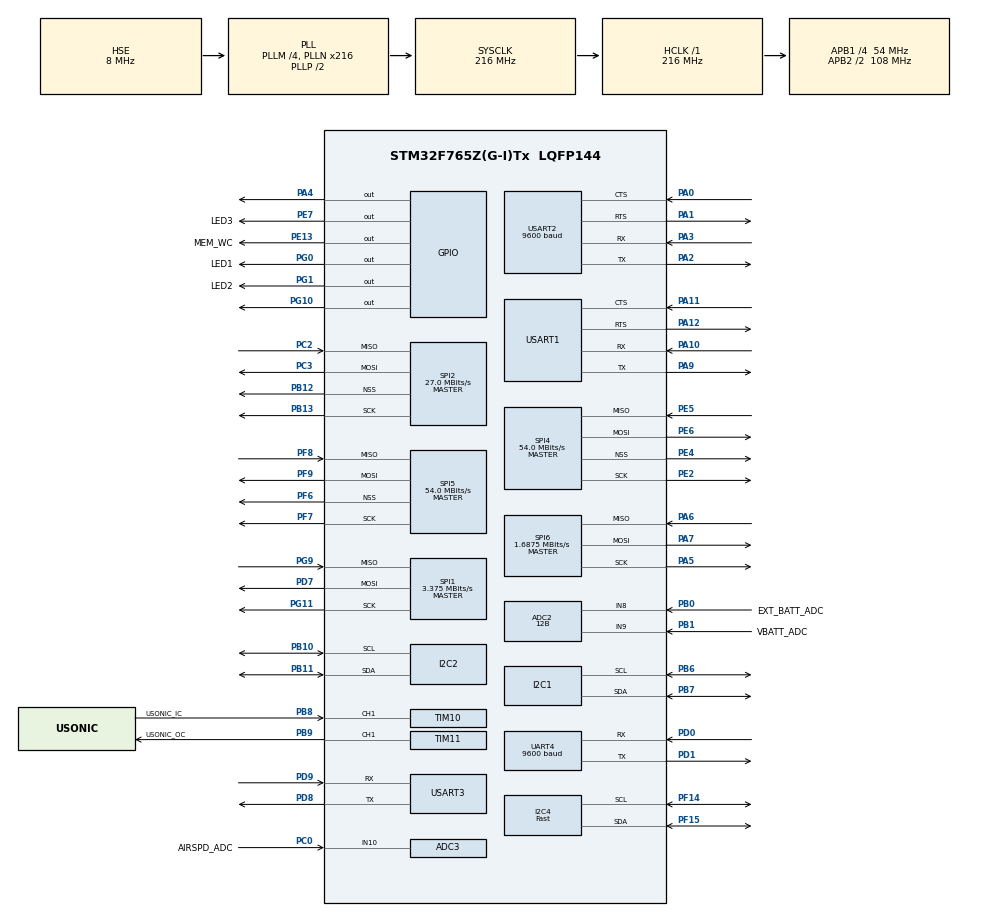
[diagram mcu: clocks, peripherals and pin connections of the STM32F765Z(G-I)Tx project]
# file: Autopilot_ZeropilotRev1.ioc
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ADC2.Channel-5\#ChannelRegularConversion=ADC_CHANNEL_8
ADC2.ClockPrescaler=ADC_CLOCK_SYNC_PCLK_DIV4
ADC2.ContinuousConvMode=DISABLE
ADC2.DMAContinuousRequests=DISABLE
ADC2.DataAlign=ADC_DATAALIGN_RIGHT
ADC2.DiscontinuousConvMode=DISABLE
ADC2.EOCSelection=ADC_EOC_SINGLE_CONV
ADC2.EnableAnalogWatchDog=false
ADC2.ExternalTrigConv=ADC_SOFTWARE_START
ADC2.ExternalTrigConvEdge=ADC_EXTERNALTRIGCONVEDGE_NONE
ADC2.InjNumberOfConversion=0
ADC2.NbrOfConversion=1
ADC2.NbrOfConversionFlag=1
ADC2.Rank-5\#ChannelRegularConversion=1
ADC2.Resolution=ADC_RESOLUTION_12B
ADC2.SamplingTime-5\#ChannelRegularConversion=ADC_SAMPLETIME_3CYCLES
ADC2.ScanConvMode=ADC_SCAN_DISABLE
ADC3.Channel-0\#ChannelRegularConversion=ADC_CHANNEL_10
ADC3.ClockPrescaler=ADC_CLOCK_SYNC_PCLK_DIV4
ADC3.ContinuousConvMode=ENABLE
ADC3.EOCSelection=ADC_EOC_SEQ_CONV
ADC3.NbrOfConversionFlag=1
ADC3.Rank-0\#ChannelRegularConversion=1
ADC3.SamplingTime-0\#ChannelRegularConversion=ADC_SAMPLETIME_3CYCLES
Dma.Request0=UART4_RX
Dma.Request1=UART4_TX
Dma.Request2=USART2_RX
Dma.Request3=USART2_TX
Dma.UART4_RX.0.Direction=DMA_PERIPH_TO_MEMORY
Dma.UART4_RX.0.FIFOMode=DMA_FIFOMODE_DISABLE
Dma.UART4_RX.0.Instance=DMA1_Stream2
Dma.UART4_RX.0.MemDataAlignment=DMA_MDATAALIGN_BYTE
Dma.UART4_RX.0.MemInc=DMA_MINC_ENABLE
Dma.UART4_RX.0.Mode=DMA_NORMAL
Dma.UART4_RX.0.PeriphDataAlignment=DMA_PDATAALIGN_BYTE
Dma.UART4_RX.0.PeriphInc=DMA_PINC_DISABLE
Dma.UART4_RX.0.Priority=DMA_PRIORITY_LOW
Dma.UART4_TX.1.Direction=DMA_MEMORY_TO_PERIPH
Dma.UART4_TX.1.FIFOMode=DMA_FIFOMODE_DISABLE
Dma.UART4_TX.1.Instance=DMA1_Stream4
Dma.UART4_TX.1.MemDataAlignment=DMA_MDATAALIGN_BYTE
Dma.UART4_TX.1.MemInc=DMA_MINC_ENABLE
Dma.UART4_TX.1.Mode=DMA_NORMAL
Dma.UART4_TX.1.PeriphDataAlignment=DMA_PDATAALIGN_BYTE
Dma.UART4_TX.1.PeriphInc=DMA_PINC_DISABLE
Dma.UART4_TX.1.Priority=DMA_PRIORITY_LOW
Dma.USART2_RX.2.Direction=DMA_PERIPH_TO_MEMORY
Dma.USART2_RX.2.FIFOMode=DMA_FIFOMODE_DISABLE
Dma.USART2_RX.2.Instance=DMA1_Stream5
Dma.USART2_RX.2.MemDataAlignment=DMA_MDATAALIGN_BYTE
Dma.USART2_RX.2.MemInc=DMA_MINC_ENABLE
Dma.USART2_RX.2.Mode=DMA_NORMAL
Dma.USART2_RX.2.PeriphDataAlignment=DMA_PDATAALIGN_BYTE
Dma.USART2_RX.2.PeriphInc=DMA_PINC_DISABLE
Dma.USART2_RX.2.Priority=DMA_PRIORITY_LOW
Dma.USART2_TX.3.Direction=DMA_MEMORY_TO_PERIPH
Dma.USART2_TX.3.FIFOMode=DMA_FIFOMODE_DISABLE
Dma.USART2_TX.3.Instance=DMA1_Stream6
Dma.USART2_TX.3.MemDataAlignment=DMA_MDATAALIGN_BYTE
Dma.USART2_TX.3.MemInc=DMA_MINC_ENABLE
Dma.USART2_TX.3.Mode=DMA_NORMAL
Dma.USART2_TX.3.PeriphDataAlignment=DMA_PDATAALIGN_BYTE
Dma.USART2_TX.3.PeriphInc=DMA_PINC_DISABLE
Dma.USART2_TX.3.Priority=DMA_PRIORITY_LOW
FREERTOS.INCLUDE_vTaskDelayUntil=1
FREERTOS.Tasks01=attitudeManager,0,128,attitudeManagerExecute,Default,NULL,Dynamic,NULL,NULL;Interchip,0,128,Interchip_Run,As external,NULL,Dynamic,NULL,NULL;pathManager,-1,128,pathManagerExecute,Default,NULL,Dynamic,NULL,NULL;telemetryRun,-1,128,StartTelemetryRun,Default,NULL,Dynamic,NULL,NULL
I2C1.Timing=0x20404768
I2C2.Timing=0x20404768
I2C4.I2C_Speed_Mode=I2C_Fast
I2C4.Speed=350
I2C4.Timing=0x00501B74
Mcu.Family=STM32F7
Mcu.Name=STM32F765Z(G-I)Tx
Mcu.Package=LQFP144
NVIC.DMA1_Stream2_IRQn=true\:5\:0\:false\:false\:true\:true\:false\:true
NVIC.DMA1_Stream4_IRQn=true\:5\:0\:false\:false\:true\:true\:false\:true
NVIC.DMA1_Stream5_IRQn=true\:5\:0\:false\:false\:true\:true\:false\:true
NVIC.DMA1_Stream6_IRQn=true\:5\:0\:false\:false\:true\:true\:false\:true
NVIC.I2C4_ER_IRQn=true\:5\:0\:false\:false\:true\:true\:true\:true
NVIC.I2C4_EV_IRQn=true\:5\:0\:false\:false\:true\:true\:true\:true
NVIC.PriorityGroup=NVIC_PRIORITYGROUP_4
NVIC.SPI1_IRQn=true\:1\:0\:true\:false\:true\:false\:true\:true
NVIC.SPI6_IRQn=true\:5\:0\:false\:false\:true\:true\:true\:true
NVIC.TIM1_UP_TIM10_IRQn=true\:5\:0\:true\:false\:true\:true\:true\:true
NVIC.TIM4_IRQn=true\:0\:0\:false\:false\:true\:false\:false\:true
NVIC.TimeBase=TIM4_IRQn
NVIC.TimeBaseIP=TIM4
NVIC.UART4_IRQn=true\:5\:0\:false\:false\:true\:true\:true\:true
NVIC.USART1_IRQn=true\:5\:0\:false\:false\:true\:true\:true\:true
NVIC.USART2_IRQn=true\:5\:0\:false\:false\:true\:true\:true\:true
NVIC.USART3_IRQn=true\:5\:0\:false\:false\:true\:true\:true\:true
PA0/WKUP.Mode=CTS_RTS
PA0/WKUP.Signal=USART2_CTS
PA1.Mode=CTS_RTS
PA1.Signal=USART2_RTS
PA10.Mode=Asynchronous
PA10.Signal=USART1_RX
PA11.Mode=CTS_RTS
PA11.Signal=USART1_CTS
PA12.Mode=CTS_RTS
PA12.Signal=USART1_RTS
PA13.Mode=Trace_Asynchronous_SW
PA13.Signal=SYS_JTMS-SWDIO
PA14.Mode=Trace_Asynchronous_SW
PA14.Signal=SYS_JTCK-SWCLK
PA2.Mode=Asynchronous
PA2.Signal=USART2_TX
PA3.Mode=Asynchronous
PA3.Signal=USART2_RX
PA4.Signal=GPIO_Output
PA5.Mode=Full_Duplex_Master
PA5.Signal=SPI6_SCK
PA6.Mode=Full_Duplex_Master
PA6.Signal=SPI6_MISO
PA7.Mode=Full_Duplex_Master
PA7.Signal=SPI6_MOSI
PA9.Mode=Asynchronous
PA9.Signal=USART1_TX
PB0.GPIO_Label=EXT_BATT_ADC
PB0.Signal=ADCx_IN8
PB1.GPIO_Label=VBATT_ADC
PB1.Signal=ADCx_IN9
PB10.Mode=I2C
PB10.Signal=I2C2_SCL
PB11.Mode=I2C
PB11.Signal=I2C2_SDA
PB12.Mode=NSS_Signal_Hard_Output
PB12.Signal=SPI2_NSS
PB13.Mode=Full_Duplex_Master
PB13.Signal=SPI2_SCK
PB14.Signal=UART4_RTS
PB15.Signal=UART4_CTS
PB3.Mode=Trace_Asynchronous_SW
PB3.Signal=SYS_JTDO-SWO
PB6.Mode=I2C
PB6.Signal=I2C1_SCL
PB7.Mode=I2C
PB7.Signal=I2C1_SDA
PB8.GPIO_Label=USONIC_IC
PB8.Signal=S_TIM10_CH1
PB9.GPIO_Label=USONIC_OC
PB9.Signal=S_TIM11_CH1
PC0.GPIO_Label=AIRSPD_ADC
PC0.Signal=ADCx_IN10
PC14/OSC32_IN.Mode=LSE-External-Oscillator
PC14/OSC32_IN.Signal=RCC_OSC32_IN
PC15/OSC32_OUT.Mode=LSE-External-Oscillator
PC15/OSC32_OUT.Signal=RCC_OSC32_OUT
PC2.Mode=Full_Duplex_Master
PC2.Signal=SPI2_MISO
PC3.Mode=Full_Duplex_Master
PC3.Signal=SPI2_MOSI
PD0.Mode=Asynchronous
PD0.Signal=UART4_RX
PD1.Mode=Asynchronous
PD1.Signal=UART4_TX
PD7.Mode=Full_Duplex_Master
PD7.Signal=SPI1_MOSI
PD8.Mode=Asynchronous
PD8.Signal=USART3_TX
PD9.Mode=Asynchronous
PD9.Signal=USART3_RX
PE13.GPIO_Label=MEM_WC
PE13.GPIO_ModeDefaultOutputPP=GPIO_MODE_OUTPUT_PP
PE13.PinState=GPIO_PIN_RESET
PE13.Signal=GPIO_Output
PE2.Mode=Full_Duplex_Master
PE2.Signal=SPI4_SCK
PE4.Mode=NSS_Signal_Hard_Output
PE4.Signal=SPI4_NSS
PE5.Mode=Full_Duplex_Master
PE5.Signal=SPI4_MISO
PE6.Mode=Full_Duplex_Master
PE6.Signal=SPI4_MOSI
PE7.GPIO_Label=LED3
PE7.GPIO_ModeDefaultOutputPP=GPIO_MODE_OUTPUT_PP
PE7.PinState=GPIO_PIN_RESET
PE7.Signal=GPIO_Output
PF14.Mode=I2C
PF14.Signal=I2C4_SCL
PF15.Mode=I2C
PF15.Signal=I2C4_SDA
PF6.Mode=NSS_Signal_Hard_Output
PF6.Signal=SPI5_NSS
PF7.Mode=Full_Duplex_Master
PF7.Signal=SPI5_SCK
PF8.Mode=Full_Duplex_Master
PF8.Signal=SPI5_MISO
PF9.Mode=Full_Duplex_Master
PF9.Signal=SPI5_MOSI
PG0.GPIO_Label=LED1
PG0.GPIO_ModeDefaultOutputPP=GPIO_MODE_OUTPUT_PP
PG0.Signal=GPIO_Output
PG1.GPIO_Label=LED2
PG1.GPIO_ModeDefaultOutputPP=GPIO_MODE_OUTPUT_PP
PG1.Signal=GPIO_Output
PG10.Signal=GPIO_Output
PG11.Mode=Full_Duplex_Master
PG11.Signal=SPI1_SCK
PG9.Mode=Full_Duplex_Master
PG9.Signal=SPI1_MISO
PH0/OSC_IN.Mode=HSE-External-Oscillator
PH0/OSC_IN.Signal=RCC_OSC_IN
PH1/OSC_OUT.Mode=HSE-External-Oscillator
PH1/OSC_OUT.Signal=RCC_OSC_OUT
ProjectManager.HeapSize=0x200
ProjectManager.StackSize=0x400
ProjectManager.TargetToolchain=Makefile
RCC.AHBFreq_Value=216000000
RCC.APB1CLKDivider=RCC_HCLK_DIV4
RCC.APB1Freq_Value=54000000
RCC.APB1TimFreq_Value=108000000
RCC.APB2CLKDivider=RCC_HCLK_DIV2
RCC.APB2Freq_Value=108000000
RCC.APB2TimFreq_Value=216000000
RCC.CortexFreq_Value=216000000
RCC.HCLKFreq_Value=216000000
RCC.HSE_VALUE=8000000
RCC.HSI_VALUE=16000000
RCC.PLLM=4
RCC.PLLN=216
RCC.PLLSourceVirtual=RCC_PLLSOURCE_HSE
RCC.SYSCLKFreq_VALUE=216000000
RCC.SYSCLKSource=RCC_SYSCLKSOURCE_PLLCLK
RCC.USBFreq_Value=216000000
RCC.VCOOutputFreq_Value=432000000
SH.ADCx_IN10.0=ADC3_IN10,IN10
SH.ADCx_IN8.0=ADC2_IN8,IN8
SH.ADCx_IN9.0=ADC2_IN9,IN9
SH.S_TIM10_CH1.0=TIM10_CH1,Input_Capture1_from_TI1
SH.S_TIM11_CH1.0=TIM11_CH1,Output Compare1 CH1
SPI1.BaudRatePrescaler=SPI_BAUDRATEPRESCALER_32
SPI1.CLKPhase=SPI_PHASE_2EDGE
SPI1.CLKPolarity=SPI_POLARITY_HIGH
SPI1.CRCCalculation=SPI_CRCCALCULATION_DISABLE
SPI1.CalculateBaudRate=3.375 MBits/s
SPI1.DataSize=SPI_DATASIZE_8BIT
SPI1.Direction=SPI_DIRECTION_2LINES
SPI1.Mode=SPI_MODE_MASTER
SPI1.VirtualType=VM_MASTER
SPI2.BaudRatePrescaler=SPI_BAUDRATEPRESCALER_2
SPI2.CalculateBaudRate=27.0 MBits/s
SPI2.Direction=SPI_DIRECTION_2LINES
SPI2.Mode=SPI_MODE_MASTER
SPI2.VirtualNSS=VM_NSSHARD
SPI2.VirtualType=VM_MASTER
SPI4.BaudRatePrescaler=SPI_BAUDRATEPRESCALER_2
SPI4.CalculateBaudRate=54.0 MBits/s
SPI4.DataSize=SPI_DATASIZE_4BIT
SPI4.Direction=SPI_DIRECTION_2LINES
SPI4.Mode=SPI_MODE_MASTER
SPI4.VirtualNSS=VM_NSSHARD
SPI4.VirtualType=VM_MASTER
SPI5.BaudRatePrescaler=SPI_BAUDRATEPRESCALER_2
SPI5.CalculateBaudRate=54.0 MBits/s
SPI5.Direction=SPI_DIRECTION_2LINES
SPI5.Mode=SPI_MODE_MASTER
SPI5.VirtualNSS=VM_NSSHARD
SPI5.VirtualType=VM_MASTER
SPI6.BaudRatePrescaler=SPI_BAUDRATEPRESCALER_64
SPI6.CLKPhase=SPI_PHASE_2EDGE
SPI6.CLKPolarity=SPI_POLARITY_HIGH
SPI6.CalculateBaudRate=1.6875 MBits/s
SPI6.DataSize=SPI_DATASIZE_8BIT
SPI6.Direction=SPI_DIRECTION_2LINES
SPI6.Mode=SPI_MODE_MASTER
SPI6.VirtualType=VM_MASTER
TIM10.Channel=TIM_CHANNEL_1
TIM10.ICPolarity_CH1=TIM_INPUTCHANNELPOLARITY_BOTHEDGE
TIM11.Channel=TIM_CHANNEL_1
TIM14.Channel=TIM_CHANNEL_1
TIM14.Period=16000
TIM14.Prescaler=54000
UART4.BaudRate=9600
UART4.DMADisableonRxErrorParam=UART_ADVFEATURE_DMA_DISABLEONRXERROR
UART4.OverSampling=UART_OVERSAMPLING_8
UART4.OverrunDisableParam=UART_ADVFEATURE_OVERRUN_DISABLE
UART4.WordLength=WORDLENGTH_8B
USART1.VirtualMode-Asynchronous=VM_ASYNC
USART1.WordLength=WORDLENGTH_8B
USART2.BaudRate=9600
USART2.OverSampling=UART_OVERSAMPLING_16
USART2.VirtualMode-Asynchronous=VM_ASYNC
USART2.WordLength=WORDLENGTH_8B
USART3.VirtualMode-Asynchronous=VM_ASYNC
USART3.WordLength=WORDLENGTH_8B
VP_CRC_VS_CRC.Mode=CRC_Activate
VP_FREERTOS_VS_CMSIS_V1.Mode=CMSIS_V1
VP_SYS_VS_tim4.Mode=TIM4
VP_TIM10_VS_ClockSourceINT.Mode=Enable_Timer
VP_TIM10_VS_OPM.Mode=OPM_bit
VP_TIM11_VS_ClockSourceINT.Mode=Enable_Timer
VP_TIM11_VS_OPM.Mode=OPM_bit
VP_TIM14_VS_ClockSourceINT.Mode=Enable_Timer
VP_TIM14_VS_no_output1.Mode=Output Compare1 No Output
board=Autopilot

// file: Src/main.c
/* USER CODE BEGIN Header */
/**
  ******************************************************************************
  * @file           : main.c
  * @brief          : Main program body
  ******************************************************************************
  * This notice applies to any and all portions of this file
  * that are not between comment pairs USER CODE BEGIN and
  * USER CODE END. Other portions of this file, whether
  * inserted by the user or by software development tools
  * are owned by their respective copyright owners.
  *
  * Copyright (c) 2020 STMicroelectronics International N.V.
  * All rights reserved.
  *
  * Redistribution and use in source and binary forms, with or without
  * modification, are permitted, provided that the following conditions are met:
  *
  * 1. Redistribution of source code must retain the above copyright notice,
  *    this list of conditions and the following disclaimer.
  * 2. Redistributions in binary form must reproduce the above copyright notice,
  *    this list of conditions and the following disclaimer in the documentation
  *    and/or other materials provided with the distribution.
  * 3. Neither the name of STMicroelectronics nor the names of other
  *    contributors to this software may be used to endorse or promote products
  *    derived from this software without specific written permission.
  * 4. This software, including modifications and/or derivative works of this
  *    software, must execute solely and exclusively on microcontroller or
  *    microprocessor devices manufactured by or for STMicroelectronics.
  * 5. Redistribution and use of this software other than as permitted under
  *    this license is void and will automatically terminate your rights under
  *    this license.
  *
  * THIS SOFTWARE IS PROVIDED BY STMICROELECTRONICS AND CONTRIBUTORS "AS IS"
  * AND ANY EXPRESS, IMPLIED OR STATUTORY WARRANTIES, INCLUDING, BUT NOT
  * LIMITED TO, THE IMPLIED WARRANTIES OF MERCHANTABILITY, FITNESS FOR A
  * PARTICULAR PURPOSE AND NON-INFRINGEMENT OF THIRD PARTY INTELLECTUAL PROPERTY
  * RIGHTS ARE DISCLAIMED TO THE FULLEST EXTENT PERMITTED BY LAW. IN NO EVENT
  * SHALL STMICROELECTRONICS OR CONTRIBUTORS BE LIABLE FOR ANY DIRECT, INDIRECT,
  * INCIDENTAL, SPECIAL, EXEMPLARY, OR CONSEQUENTIAL DAMAGES (INCLUDING, BUT NOT
  * LIMITED TO, PROCUREMENT OF SUBSTITUTE GOODS OR SERVICES; LOSS OF USE, DATA,
  * OR PROFITS; OR BUSINESS INTERRUPTION) HOWEVER CAUSED AND ON ANY THEORY OF
  * LIABILITY, WHETHER IN CONTRACT, STRICT LIABILITY, OR TORT (INCLUDING
  * NEGLIGENCE OR OTHERWISE) ARISING IN ANY WAY OUT OF THE USE OF THIS SOFTWARE,
  * EVEN IF ADVISED OF THE POSSIBILITY OF SUCH DAMAGE.
  *
  ******************************************************************************
  */
/* USER CODE END Header */
#include "main.h"
#include "cmsis_os.h"
#include "adc.h"
#include "crc.h"
#include "dma.h"
#include "i2c.h"
#include "spi.h"
#include "tim.h"
#include "usart.h"
#include "gpio.h"

void SystemClock_Config(void);
void MX_FREERTOS_Init(void);

/* USER CODE BEGIN 0 */

// TODO this should be removed once we have an actual function to call
void Attitude_Run(void const * argument)
{
  while(1)
  {
    __asm("nop");
  }
}

/* USER CODE END 0 */

int main(void)
{

  /* MCU Configuration--------------------------------------------------------*/

  /* Reset of all peripherals, Initializes the Flash interface and the Systick. */
  HAL_Init();

  /* Configure the system clock */
  SystemClock_Config();

  /* USER CODE BEGIN SysInit */

  HAL_Delay(100);

  /* USER CODE END SysInit */

  /* Initialize all configured peripherals */
  MX_GPIO_Init();
  MX_DMA_Init();
  MX_SPI5_Init();
  MX_SPI4_Init();
  MX_I2C4_Init();
  MX_USART2_UART_Init();
  MX_SPI1_Init();
  MX_ADC3_Init();
  MX_ADC2_Init();
  MX_UART4_Init();
  MX_USART3_UART_Init();
  MX_USART1_UART_Init();
  MX_SPI2_Init();
  MX_TIM10_Init();
  MX_TIM11_Init();
  MX_CRC_Init();
  MX_SPI6_Init();
  MX_TIM14_Init();
  MX_I2C1_Init();
  MX_I2C2_Init();

  /* Call init function for freertos objects (in freertos.c) */
  MX_FREERTOS_Init();
  /* Start scheduler */
  osKernelStart();

  /* We should never get here as control is now taken by the scheduler */
  /* Infinite loop */
  while (1)
  {

  }
}

void SystemClock_Config(void)
{
  RCC_OscInitTypeDef RCC_OscInitStruct = {0};
  RCC_ClkInitTypeDef RCC_ClkInitStruct = {0};
  RCC_PeriphCLKInitTypeDef PeriphClkInitStruct = {0};

  /** Configure LSE Drive Capability
  */
  HAL_PWR_EnableBkUpAccess();
  /** Configure the main internal regulator output voltage
  */
  __HAL_RCC_PWR_CLK_ENABLE();
  __HAL_PWR_VOLTAGESCALING_CONFIG(PWR_REGULATOR_VOLTAGE_SCALE1);
  /** Initializes the RCC Oscillators according to the specified parameters
  * in the RCC_OscInitTypeDef structure.
  */
  RCC_OscInitStruct.OscillatorType = RCC_OSCILLATORTYPE_HSE;
  RCC_OscInitStruct.HSEState = RCC_HSE_ON;
  RCC_OscInitStruct.PLL.PLLState = RCC_PLL_ON;
  RCC_OscInitStruct.PLL.PLLSource = RCC_PLLSOURCE_HSE;
  RCC_OscInitStruct.PLL.PLLM = 4;
  RCC_OscInitStruct.PLL.PLLN = 216;
  RCC_OscInitStruct.PLL.PLLP = RCC_PLLP_DIV2;
  RCC_OscInitStruct.PLL.PLLQ = 2;
  if (HAL_RCC_OscConfig(&RCC_OscInitStruct) != HAL_OK)
  {
    Error_Handler();
  }
  /** Activate the Over-Drive mode
  */
  if (HAL_PWREx_EnableOverDrive() != HAL_OK)
  {
    Error_Handler();
  }
  /** Initializes the CPU, AHB and APB buses clocks
  */
  RCC_ClkInitStruct.ClockType = RCC_CLOCKTYPE_HCLK|RCC_CLOCKTYPE_SYSCLK
                              |RCC_CLOCKTYPE_PCLK1|RCC_CLOCKTYPE_PCLK2;
  RCC_ClkInitStruct.SYSCLKSource = RCC_SYSCLKSOURCE_PLLCLK;
  RCC_ClkInitStruct.AHBCLKDivider = RCC_SYSCLK_DIV1;
  RCC_ClkInitStruct.APB1CLKDivider = RCC_HCLK_DIV4;
  RCC_ClkInitStruct.APB2CLKDivider = RCC_HCLK_DIV2;

  if (HAL_RCC_ClockConfig(&RCC_ClkInitStruct, FLASH_LATENCY_7) != HAL_OK)
  {
    Error_Handler();
  }
  PeriphClkInitStruct.PeriphClockSelection = RCC_PERIPHCLK_USART1|RCC_PERIPHCLK_USART2
                              |RCC_PERIPHCLK_USART3|RCC_PERIPHCLK_UART4
                              |RCC_PERIPHCLK_I2C1|RCC_PERIPHCLK_I2C2
                              |RCC_PERIPHCLK_I2C4;
  PeriphClkInitStruct.Usart1ClockSelection = RCC_USART1CLKSOURCE_PCLK2;
  PeriphClkInitStruct.Usart2ClockSelection = RCC_USART2CLKSOURCE_PCLK1;
  PeriphClkInitStruct.Usart3ClockSelection = RCC_USART3CLKSOURCE_PCLK1;
  PeriphClkInitStruct.Uart4ClockSelection = RCC_UART4CLKSOURCE_PCLK1;
  PeriphClkInitStruct.I2c1ClockSelection = RCC_I2C1CLKSOURCE_PCLK1;
  PeriphClkInitStruct.I2c2ClockSelection = RCC_I2C2CLKSOURCE_PCLK1;
  PeriphClkInitStruct.I2c4ClockSelection = RCC_I2C4CLKSOURCE_PCLK1;
  if (HAL_RCCEx_PeriphCLKConfig(&PeriphClkInitStruct) != HAL_OK)
  {
    Error_Handler();
  }
}

 /**
  * @brief  Period elapsed callback in non blocking mode
  * @note   This function is called  when TIM4 interrupt took place, inside
  * HAL_TIM_IRQHandler(). It makes a direct call to HAL_IncTick() to increment
  * a global variable "uwTick" used as application time base.
  * @param  htim : TIM handle
  * @retval None
  */
void HAL_TIM_PeriodElapsedCallback(TIM_HandleTypeDef *htim)
{
  if (htim->Instance == TIM4) {
    HAL_IncTick();
  }
}

void Error_Handler(void)
{
}

/************************ (C) COPYRIGHT STMicroelectronics *****END OF FILE****/

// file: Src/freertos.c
/* USER CODE BEGIN Header */
/**
  ******************************************************************************
  * File Name          : freertos.c
  * Description        : Code for freertos applications
  * Authors            : Anthony Berbari, Sahil Kale, Dhruv Upadhyay
  ******************************************************************************
  * This notice applies to any and all portions of this file
  * that are not between comment pairs USER CODE BEGIN and
  * USER CODE END. Other portions of this file, whether
  * inserted by the user or by software development tools
  * are owned by their respective copyright owners.
  *
  * Copyright (c) 2020 STMicroelectronics International N.V.
  * All rights reserved.
  *
  * Redistribution and use in source and binary forms, with or without
  * modification, are permitted, provided that the following conditions are met:
  *
  * 1. Redistribution of source code must retain the above copyright notice,
  *    this list of conditions and the following disclaimer.
  * 2. Redistributions in binary form must reproduce the above copyright notice,
  *    this list of conditions and the following disclaimer in the documentation
  *    and/or other materials provided with the distribution.
  * 3. Neither the name of STMicroelectronics nor the names of other
  *    contributors to this software may be used to endorse or promote products
  *    derived from this software without specific written permission.
  * 4. This software, including modifications and/or derivative works of this
  *    software, must execute solely and exclusively on microcontroller or
  *    microprocessor devices manufactured by or for STMicroelectronics.
  * 5. Redistribution and use of this software other than as permitted under
  *    this license is void and will automatically terminate your rights under
  *    this license.
  *
  * THIS SOFTWARE IS PROVIDED BY STMICROELECTRONICS AND CONTRIBUTORS "AS IS"
  * AND ANY EXPRESS, IMPLIED OR STATUTORY WARRANTIES, INCLUDING, BUT NOT
  * LIMITED TO, THE IMPLIED WARRANTIES OF MERCHANTABILITY, FITNESS FOR A
  * PARTICULAR PURPOSE AND NON-INFRINGEMENT OF THIRD PARTY INTELLECTUAL PROPERTY
  * RIGHTS ARE DISCLAIMED TO THE FULLEST EXTENT PERMITTED BY LAW. IN NO EVENT
  * SHALL STMICROELECTRONICS OR CONTRIBUTORS BE LIABLE FOR ANY DIRECT, INDIRECT,
  * INCIDENTAL, SPECIAL, EXEMPLARY, OR CONSEQUENTIAL DAMAGES (INCLUDING, BUT NOT
  * LIMITED TO, PROCUREMENT OF SUBSTITUTE GOODS OR SERVICES; LOSS OF USE, DATA,
  * OR PROFITS; OR BUSINESS INTERRUPTION) HOWEVER CAUSED AND ON ANY THEORY OF
  * LIABILITY, WHETHER IN CONTRACT, STRICT LIABILITY, OR TORT (INCLUDING
  * NEGLIGENCE OR OTHERWISE) ARISING IN ANY WAY OUT OF THE USE OF THIS SOFTWARE,
  * EVEN IF ADVISED OF THE POSSIBILITY OF SUCH DAMAGE.
  *
  ******************************************************************************
  */
/* USER CODE END Header */

#include "FreeRTOS.h"
#include "Interchip_A.h"
#include "portmacro.h"
#include "task.h"
#include "main.h"
#include "cmsis_os.h"

/* USER CODE BEGIN Includes */
#include "attitudeManagerInterface.h"
#include "PathManagerInterface.h"
#include "telemetryManagerInterface.h"
#include "sensorFusionInterface.hpp"
#include "IMUThreadInterface.h"

/* USER CODE END Includes */

/* USER CODE BEGIN Variables */

// The period for which each of the threads are called

// TODO: Confirm the period at which each of the threads are to be run and update them
static const int PERIOD_ATTITUDEMANAGER_MS = 5;
static const int PERIOD_SENSORDATA_MS = 5;
static const int PERIOD_PATHMANAGER_MS = 20;
static const int PERIOD_TELEMETRY_MS = 20;
static const int PERIOD_INTERCHIP_MS = 20;

static volatile bool catastrophicFailure = false;

/* USER CODE END Variables */
osThreadId sensorDataHandle;
osThreadId attitudeManagerHandle;
osThreadId InterchipHandle;
osThreadId pathManagerHandle;
osThreadId telemetryRunHandle;
// osThreadId sensorFusionHandle;
// osThreadId IMUHandle;

void attitudeManagerExecute(void const * argument);
void pathManagerExecute(void const * argument);
void telemetryRunExecute(void const * argument);
void sensorFusionExecute(void const * argument);
void interchipRunExecute(void const * argument);
void IMURunExecute(void const * argument);
void sensorDataExecute(void const * argument);

void MX_FREERTOS_Init(void); /* (MISRA C 2004 rule 8.1) */

/* GetIdleTaskMemory prototype (linked to static allocation support) */
void vApplicationGetIdleTaskMemory( StaticTask_t **ppxIdleTaskTCBBuffer, StackType_t **ppxIdleTaskStackBuffer, uint32_t *pulIdleTaskStackSize );

/* USER CODE BEGIN GET_IDLE_TASK_MEMORY */
static StaticTask_t xIdleTaskTCBBuffer;
static StackType_t xIdleStack[configMINIMAL_STACK_SIZE];

void vApplicationGetIdleTaskMemory( StaticTask_t **ppxIdleTaskTCBBuffer, StackType_t **ppxIdleTaskStackBuffer, uint32_t *pulIdleTaskStackSize )
{
  *ppxIdleTaskTCBBuffer = &xIdleTaskTCBBuffer;
  *ppxIdleTaskStackBuffer = &xIdleStack[0];
  *pulIdleTaskStackSize = configMINIMAL_STACK_SIZE;
  /* place for user code */
}
/* USER CODE END GET_IDLE_TASK_MEMORY */

void MX_FREERTOS_Init(void) {
  /* USER CODE BEGIN Init */
    //SensorFusionInterfaceInit();
    //Interchip_Init();
    //IMUThreadInterfaceInit();

  /* USER CODE END Init */

  // /* Create the thread(s) */

  /* definition and creation of sensorDataRun (thread for IMU, sensor fusion, and altimeter) */
  //osThreadDef(sensorDataRun, sensorDataExecute, osPriorityNormal, 0, 1000);
  //sensorDataHandle = osThreadCreate(osThread(sensorDataRun), NULL);

  /* definition and creation of attitudeManager */
  //osThreadDef(attitudeManager, attitudeManagerExecute, osPriorityNormal, 0, 250);
  //attitudeManagerHandle = osThreadCreate(osThread(attitudeManager), NULL);

  /* definition and creation of pathManager */
  //osThreadDef(pathManager, pathManagerExecute, osPriorityNormal, 0, 250);
  //pathManagerHandle = osThreadCreate(osThread(pathManager), NULL);

  // /* definition and creation of telemetryRun */
  osThreadDef(telemetryRun, telemetryRunExecute, osPriorityNormal, 0, 250);
  telemetryRunHandle = osThreadCreate(osThread(telemetryRun), NULL);

  /* definition and creation of Interchip */
  osThreadDef(interchip, interchipRunExecute, osPriorityNormal, 0, 250);
  InterchipHandle = osThreadCreate(osThread(interchip), NULL);

}

void attitudeManagerExecute(void const * argument)
{
  /* USER CODE BEGIN attitudeManagerExecute */
  /* Infinite loop */
  while(1)
  {
    TickType_t xLastWakeTime = xTaskGetTickCount();
    vTaskDelayUntil(&xLastWakeTime, PERIOD_ATTITUDEMANAGER_MS);
    bool status = AttitudeManagerInterfaceExecute();
    if (!status) {
      catastrophicFailure = true;
    }
  }
  /* USER CODE END attitudeManagerExecute */
}

void pathManagerExecute(void const * argument)
{
  /* USER CODE BEGIN pathManagerExecute */
  /* Infinite loop */
  while(1)
  {
    TickType_t xLastWakeTime = xTaskGetTickCount();
    vTaskDelayUntil(&xLastWakeTime, PERIOD_PATHMANAGER_MS);
    bool status = PathManagerInterfaceExecute();
    if (!status) {
      catastrophicFailure = true;
    }
  }

  /* USER CODE END pathManagerExecute */
}

void telemetryRunExecute(void const * argument)
{
  /* USER CODE BEGIN telemetryRunExecute */
  /* Infinite loop */
  while(1)
  {
    TickType_t xLastWakeTime = xTaskGetTickCount();
    vTaskDelayUntil(&xLastWakeTime, PERIOD_TELEMETRY_MS);
    bool status = TelemetryManagerInterfaceExecute();
    if (!status) {
      catastrophicFailure = true;
    }
    HAL_GPIO_TogglePin(LED3_GPIO_Port, LED3_Pin);
  }

  /* USER CODE END telemetryRunExecute */
}

void interchipRunExecute(void const * argument) {

  /* USER CODE BEGIN interchipRunExecute */
  /* Infinite loop */
  while (1) {
    TickType_t xLastWakeTime = xTaskGetTickCount();
    vTaskDelayUntil(&xLastWakeTime, PERIOD_INTERCHIP_MS);
    if (!catastrophicFailure) {
      //Interchip_Run();
      Comms::GetInstance()->transmitMessage();
    }
    HAL_GPIO_TogglePin(LED2_GPIO_Port, LED2_Pin);
    /* USER CODE END interchipRunExecute */
  }
}

/* USER CODE BEGIN Header_sensorDataExecute */
/* USER CODE END Header_IMURunExecute */
void sensorDataExecute(void const * argument) {
  /* USER CODE BEGIN sensorDataExecute */
  /* Infinite loop */

  while (1) {
    TickType_t xLastWakeTime = xTaskGetTickCount();
    vTaskDelayUntil(&xLastWakeTime, PERIOD_SENSORDATA_MS);
    IMUThreadInterfaceExecute();
    SensorFusionInterfaceExecute();
    HAL_GPIO_TogglePin(LED1_GPIO_Port, LED1_Pin);
  }
}

/************************ (C) COPYRIGHT STMicroelectronics *****END OF FILE****/
